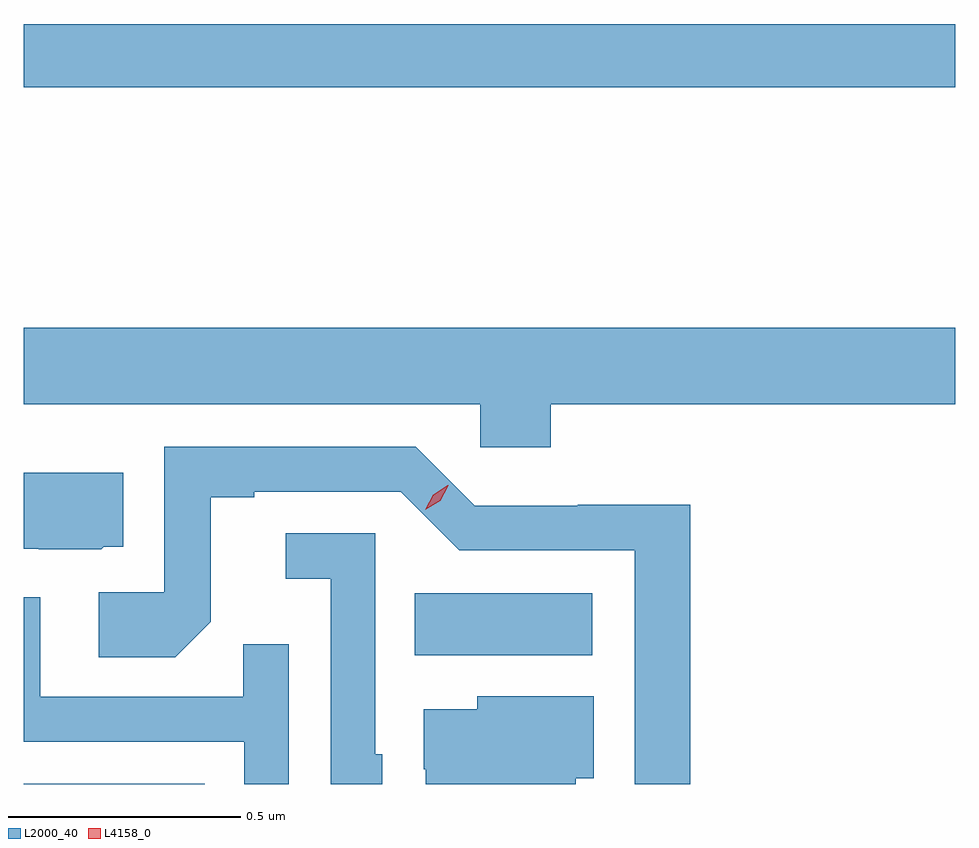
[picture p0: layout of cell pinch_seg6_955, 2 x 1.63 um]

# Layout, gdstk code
import gdstk
lib = gdstk.Library(unit=1e-6, precision=1e-09)
def R(c, l, rs):  # rectangles x0, y0, x1, y1
    for r in rs: c.add(gdstk.rectangle(r[:2], r[2:], *l))
def P(c, l, *ps):  # polygons
    for p in ps: c.add(gdstk.Polygon(p, *l))
L2000_40 = (2000, 40)
L4158_0 = (4158, 0)

pinch_seg6_955 = lib.new_cell('pinch_seg6_955')
R(pinch_seg6_955, L2000_40, [(354.754,943.856,355.142,943.857), (355.594,944.132,355.975,944.266), (354.754,945.352,356.754,945.488)])
P(pinch_seg6_955, L2000_40, [(355.886,944.672),(356.754,944.672),(356.754,944.836),(354.754,944.836),(354.754,944.672),(355.734,944.672),(355.734,944.579),(355.886,944.579)],
  [(356.185,944.456),(355.944,944.456),(355.944,944.454),(355.722,944.454),(355.596,944.58),(355.056,944.58),(355.056,944.268),(354.915,944.268),(354.915,944.128),(355.079,944.128),(355.155,944.204),(355.155,944.472),(355.249,944.472),(355.249,944.484),(355.563,944.484),(355.689,944.358),(356.066,944.358),(356.066,943.856),(356.185,943.856)],
  [(354.926,944.366),(354.967,944.366),(354.967,944.524),(354.754,944.524),(354.754,944.361),(354.786,944.361),(354.786,944.36),(354.92,944.36)],
  [(355.524,943.92),(355.509,943.92),(355.509,944.394),(355.317,944.394),(355.317,944.297),(355.413,944.297),(355.413,943.856),(355.524,943.856)],
  [(355.323,944.156),(355.225,944.156),(355.225,944.043),(354.789,944.043),(354.789,944.257),(354.754,944.257),(354.754,943.947),(355.227,943.947),(355.227,943.856),(355.323,943.856)],
  [(355.939,943.868),(355.978,943.868),(355.978,944.044),(355.728,944.044),(355.728,944.017),(355.613,944.017),(355.613,943.888),(355.617,943.888),(355.617,943.856),(355.939,943.856)])
P(pinch_seg6_955, L4158_0, [(355.616,944.445),(355.616,944.445),(355.633,944.477),(355.664,944.497),(355.665,944.497),(355.665,944.496),(355.648,944.464),(355.616,944.445)])

lib.write_gds('pinch_seg6_955.gds')
